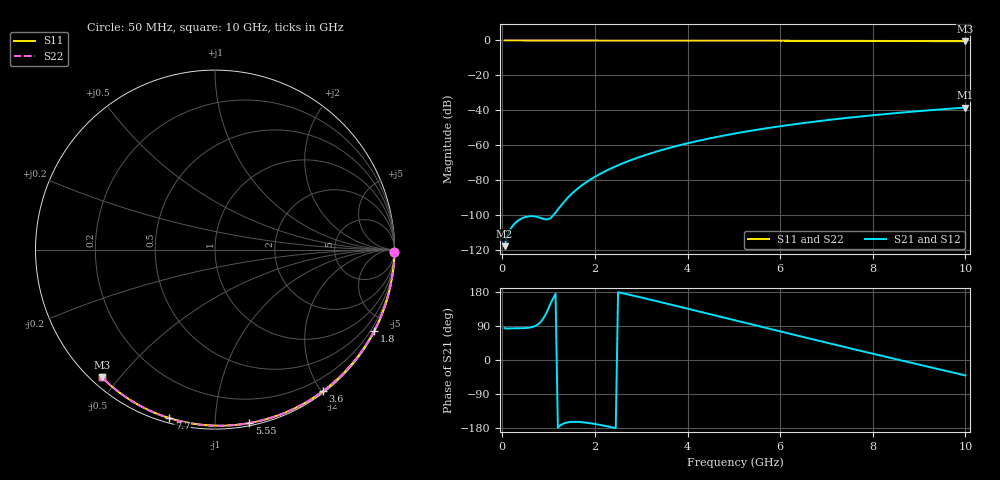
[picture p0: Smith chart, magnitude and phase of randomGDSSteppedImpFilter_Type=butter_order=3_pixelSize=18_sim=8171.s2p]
! freq	dB(S11)	phase(S11)	dB(S12)	phase(S12)
!  dB(S21)	phase(S21)	dB(S22)	phase(S22)
!S-par simulation data
#  GHz  S  DB  R 50
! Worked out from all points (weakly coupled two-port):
!   200 points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, 50 MHz to 10 GHz, reference 50 ohm
!   highest |S21| = -38.38 dB at 10 GHz (marker M1); lowest = -117.7 dB at 50 MHz (marker M2)
!   lowest |S11| = -0.4 dB at 10 GHz (marker M3), VSWR 39.09, Z = 1.54 - j22.5 ohm
!   |S11| at or under -10 dB: nowhere
!   |S22| runs from -0.4 to 0.0 dB; largest |S21 - S12| = 0
!   S11 on the Smith chart (normalised r, x): 50 MHz: open; 1.8 GHz: 0.04, -4.17; 3.6 GHz: 0.02, -2.02; 5.55 GHz: 0.02, -1.22; 7.7 GHz: 0.02, -0.76; 10 GHz: 0.03, -0.45
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0.05  -0.00 -0.8  -117.68 84.1  -117.68 84.1  -0.00 -0.8
0.9  -0.02 -13.6  -102.16 112.7  -102.16 112.7  -0.02 -13.6
1.75  -0.03 -26.2  -82.27 -164.5  -82.27 -164.5  -0.03 -26.2
1.8  -0.03 -27.0  -81.34 -165.2  -81.34 -165.2  -0.03 -27.0
1.85  -0.04 -27.7  -80.45 -166.0  -80.45 -166.0  -0.04 -27.7
1.9  -0.04 -28.4  -79.60 -166.9  -79.60 -166.9  -0.04 -28.4
2.05  -0.04 -30.6  -77.23 -170.0  -77.23 -170.0  -0.04 -30.6
2.25  -0.04 -33.5  -74.44 -174.6  -74.44 -174.6  -0.04 -33.5
2.45  -0.05 -36.4  -71.97 -179.8  -71.97 -179.8  -0.05 -36.4
2.65  -0.05 -39.3  -69.75 174.8  -69.75 174.8  -0.05 -39.3
3  -0.06 -44.3  -66.35 165.0  -66.35 165.0  -0.06 -44.3
3.4  -0.07 -50.0  -63.01 153.3  -63.01 153.3  -0.07 -50.0
3.6  -0.07 -52.7  -61.52 147.4  -61.52 147.4  -0.07 -52.7
4.3  -0.09 -62.3  -57.02 126.5  -57.02 126.5  -0.09 -62.3
5.05  -0.11 -72.3  -53.09 103.9  -53.09 103.9  -0.11 -72.3
5.55  -0.13 -78.8  -50.86 88.9  -50.86 88.9  -0.13 -78.8
6.1  -0.15 -85.7  -48.68 72.5  -48.68 72.5  -0.15 -85.7
6.7  -0.18 -93.2  -46.58 54.7  -46.58 54.7  -0.18 -93.2
7.7  -0.24 -105.2  -43.58 25.3  -43.58 25.3  -0.24 -105.2
8.35  -0.29 -112.8  -41.91 6.5  -41.91 6.5  -0.29 -112.8
9.15  -0.36 -121.9  -40.08 -16.5  -40.08 -16.5  -0.36 -121.9
10  -0.44 -131.6  -38.38 -40.7  -38.38 -40.7  -0.44 -131.6
